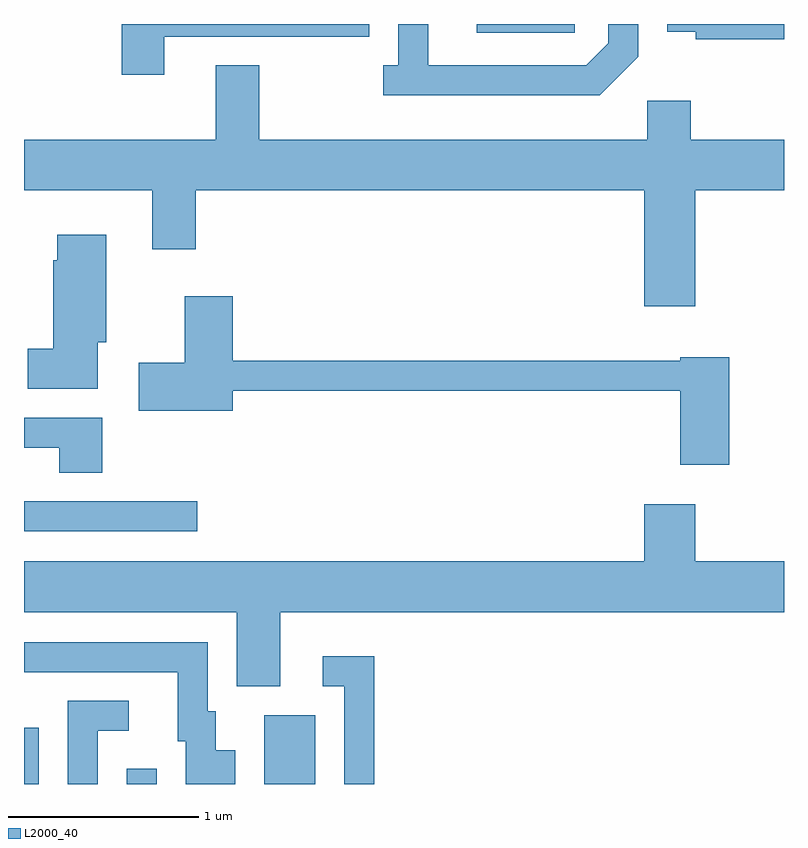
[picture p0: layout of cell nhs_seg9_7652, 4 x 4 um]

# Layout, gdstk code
import gdstk
lib = gdstk.Library(unit=1e-6, precision=1e-09)
def R(c, l, rs):  # rectangles x0, y0, x1, y1
    for r in rs: c.add(gdstk.rectangle(r[:2], r[2:], *l))
def P(c, l, *ps):  # polygons
    for p in ps: c.add(gdstk.Polygon(p, *l))
L2000_40 = (2000, 40)

nhs_seg9_7652 = lib.new_cell('nhs_seg9_7652')
R(nhs_seg9_7652, L2000_40, [(411.611,2026.432,411.689,2026.729), (412.151,2026.432,412.309,2026.513), (412.876,2026.432,413.144,2026.794), (411.611,2027.761,412.523,2027.919), (413.993,2030.386,414.509,2030.432)])
P(nhs_seg9_7652, L2000_40, [(414.844,2030.259),(414.844,2030.432),(414.686,2030.432),(414.686,2030.332),(414.569,2030.214),(413.739,2030.214),(413.739,2030.432),(413.581,2030.432),(413.581,2030.214),(413.503,2030.214),(413.503,2030.056),(414.642,2030.056)],
  [(415.611,2030.432),(414.996,2030.432),(414.996,2030.391),(415.146,2030.391),(415.146,2030.351),(415.611,2030.351)],
  [(412.349,2030.366),(413.429,2030.366),(413.429,2030.432),(412.126,2030.432),(412.126,2030.166),(412.349,2030.166)],
  [(415.144,2029.556),(415.611,2029.556),(415.611,2029.824),(415.119,2029.824),(415.119,2030.029),(414.891,2030.029),(414.891,2029.824),(412.849,2029.824),(412.849,2030.214),(412.621,2030.214),(412.621,2029.824),(411.611,2029.824),(411.611,2029.556),(412.286,2029.556),(412.286,2029.246),(412.514,2029.246),(412.514,2029.556),(414.876,2029.556),(414.876,2028.946),(415.144,2028.946)],
  [(411.999,2028.756),(412.044,2028.756),(412.044,2029.324),(411.786,2029.324),(411.786,2029.189),(411.766,2029.189),(411.766,2028.724),(411.631,2028.724),(411.631,2028.511),(411.999,2028.511)],
  [(415.324,2028.679),(415.066,2028.679),(415.066,2028.659),(412.709,2028.659),(412.709,2028.999),(412.456,2028.999),(412.456,2028.649),(412.216,2028.649),(412.216,2028.396),(412.709,2028.396),(412.709,2028.501),(415.066,2028.501),(415.066,2028.111),(415.324,2028.111)],
  [(412.024,2028.359),(411.611,2028.359),(411.611,2028.201),(411.796,2028.201),(411.796,2028.071),(412.024,2028.071)],
  [(412.959,2027.336),(415.611,2027.336),(415.611,2027.604),(415.144,2027.604),(415.144,2027.904),(414.876,2027.904),(414.876,2027.604),(411.611,2027.604),(411.611,2027.336),(412.731,2027.336),(412.731,2026.946),(412.959,2026.946)],
  [(412.724,2026.609),(412.619,2026.609),(412.619,2026.814),(412.579,2026.814),(412.579,2027.179),(411.611,2027.179),(411.611,2027.021),(412.421,2027.021),(412.421,2026.656),(412.461,2026.656),(412.461,2026.432),(412.724,2026.432)],
  [(413.454,2027.104),(413.183,2027.104),(413.183,2026.946),(413.296,2026.946),(413.296,2026.432),(413.454,2026.432)],
  [(411.999,2026.711),(412.163,2026.711),(412.163,2026.869),(411.841,2026.869),(411.841,2026.432),(411.999,2026.432)])

lib.write_gds('nhs_seg9_7652.gds')
